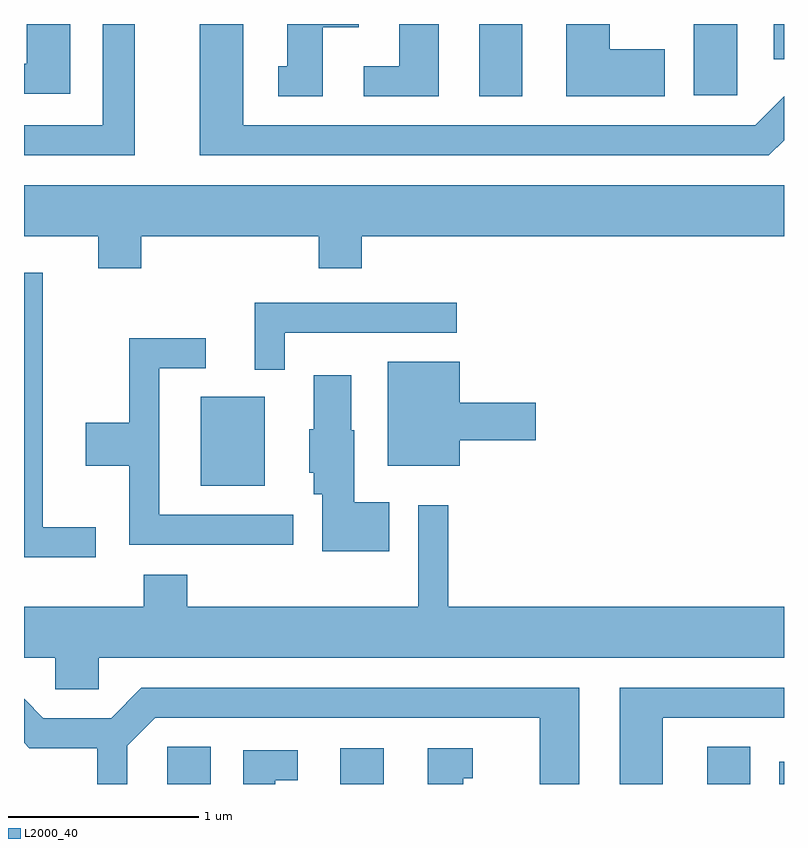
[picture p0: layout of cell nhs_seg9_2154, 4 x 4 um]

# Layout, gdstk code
import gdstk
lib = gdstk.Library(unit=1e-6, precision=1e-09)
def R(c, l, rs):  # rectangles x0, y0, x1, y1
    for r in rs: c.add(gdstk.rectangle(r[:2], r[2:], *l))
def P(c, l, *ps):  # polygons
    for p in ps: c.add(gdstk.Polygon(p, *l))
L2000_40 = (2000, 40)

nhs_seg9_2154 = lib.new_cell('nhs_seg9_2154')
R(nhs_seg9_2154, L2000_40, [(248.366,2044.432,248.594,2044.629), (249.276,2044.432,249.504,2044.619), (251.206,2044.432,251.434,2044.629), (251.586,2044.432,251.611,2044.549), (248.541,2046.001,248.879,2046.469), (250.006,2048.051,250.234,2048.432), (251.136,2048.056,251.364,2048.432), (251.556,2048.246,251.611,2048.432)])
P(nhs_seg9_2154, L2000_40, [(248.194,2048.432),(248.026,2048.432),(248.026,2047.899),(247.611,2047.899),(247.611,2047.741),(248.194,2047.741)],
  [(250.984,2048.299),(250.694,2048.299),(250.694,2048.432),(250.466,2048.432),(250.466,2048.051),(250.984,2048.051)],
  [(251.611,2047.82),(251.611,2048.051),(251.459,2047.899),(248.764,2047.899),(248.764,2048.432),(248.536,2048.432),(248.536,2047.741),(251.532,2047.741)],
  [(249.794,2048.432),(249.586,2048.432),(249.586,2048.209),(249.398,2048.209),(249.398,2048.051),(249.794,2048.051)],
  [(249.184,2048.416),(249.374,2048.416),(249.374,2048.432),(248.996,2048.432),(248.996,2048.209),(248.948,2048.209),(248.948,2048.051),(249.184,2048.051)],
  [(247.854,2048.432),(247.626,2048.432),(247.626,2048.224),(247.611,2048.224),(247.611,2048.066),(247.854,2048.066)],
  [(248.229,2047.316),(249.161,2047.316),(249.161,2047.146),(249.389,2047.146),(249.389,2047.316),(251.611,2047.316),(251.611,2047.584),(247.611,2047.584),(247.611,2047.316),(248.001,2047.316),(248.001,2047.146),(248.229,2047.146)],
  [(247.988,2045.784),(247.709,2045.784),(247.709,2047.124),(247.611,2047.124),(247.611,2045.626),(247.988,2045.626)],
  [(248.984,2046.806),(249.888,2046.806),(249.888,2046.964),(248.826,2046.964),(248.826,2046.613),(248.984,2046.613)],
  [(249.028,2045.849),(248.324,2045.849),(248.324,2046.621),(248.568,2046.621),(248.568,2046.779),(248.166,2046.779),(248.166,2046.334),(247.936,2046.334),(247.936,2046.106),(248.166,2046.106),(248.166,2045.691),(249.028,2045.691)],
  [(249.904,2046.241),(250.304,2046.241),(250.304,2046.439),(249.904,2046.439),(249.904,2046.654),(249.526,2046.654),(249.526,2046.106),(249.904,2046.106)],
  [(249.534,2045.914),(249.349,2045.914),(249.349,2046.295),(249.334,2046.295),(249.334,2046.584),(249.136,2046.584),(249.136,2046.299),(249.111,2046.299),(249.111,2046.071),(249.136,2046.071),(249.136,2045.956),(249.181,2045.956),(249.181,2045.656),(249.534,2045.656)],
  [(248.004,2045.096),(251.611,2045.096),(251.611,2045.364),(249.844,2045.364),(249.844,2045.898),(249.686,2045.898),(249.686,2045.364),(248.469,2045.364),(248.469,2045.534),(248.241,2045.534),(248.241,2045.364),(247.611,2045.364),(247.611,2045.096),(247.776,2045.096),(247.776,2044.931),(248.004,2044.931)],
  [(250.974,2044.781),(251.611,2044.781),(251.611,2044.939),(250.746,2044.939),(250.746,2044.432),(250.974,2044.432)],
  [(248.154,2044.634),(248.302,2044.781),(250.326,2044.781),(250.326,2044.432),(250.534,2044.432),(250.534,2044.939),(248.229,2044.939),(248.069,2044.779),(247.712,2044.779),(247.611,2044.88),(247.611,2044.649),(247.639,2044.621),(247.996,2044.621),(247.996,2044.432),(248.154,2044.432)],
  [(249.924,2044.461),(249.973,2044.461),(249.973,2044.619),(249.736,2044.619),(249.736,2044.432),(249.924,2044.432)],
  [(248.934,2044.451),(249.053,2044.451),(249.053,2044.609),(248.766,2044.609),(248.766,2044.432),(248.934,2044.432)])

lib.write_gds('nhs_seg9_2154.gds')
